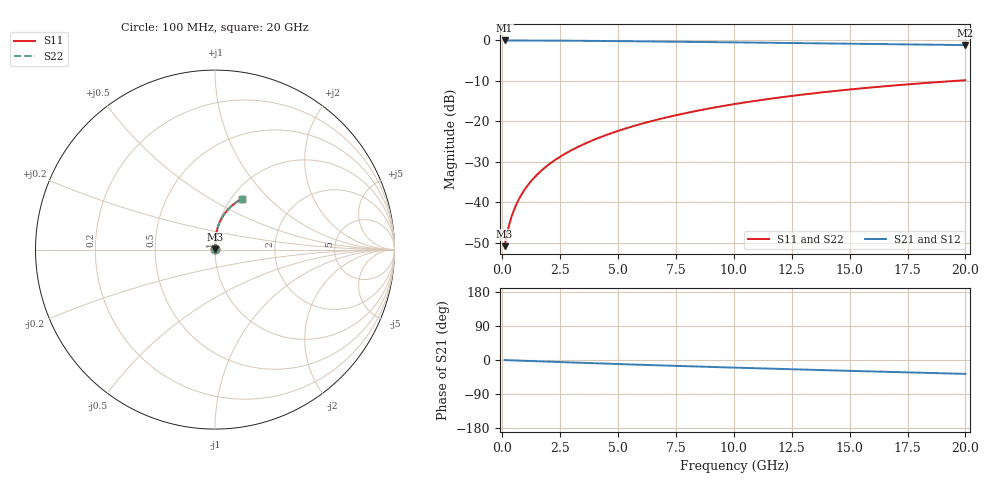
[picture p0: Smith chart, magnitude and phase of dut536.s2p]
! Touchstone file exported from HFSS 2024.1.0
!  File:  C:/UserFiles/LocalFiles/RDL_TSV_Batchsim/temp_RDL_bottom_536_1779688730.aedt
!  Generated:  02:01:24 PM May 25, 2026
!  Design:  RDL_bottom
!  Project:  temp_RDL_bottom_536_1779688730
!  Setup:  Setup1
!  Solution:  Sweep
! Variables:
!  dtsv = 10.80580581um
!  hbump = 3um
!  htsv = 97.45um
!  ldown = 515.27um
!  lrdl = 100um
!  p = 40
!  p1 = 51.37um
!  rhole = 1um
!  t = 450um
!  tdown = 3.48um
!  trdl = 3.915915916um
!  wdown = 24.82um
!  wrdl = 20um
# GHz S MA R 50.000000
! Terminal data exported
! Port[1] = RDL1_T1
! Port[2] = RDL1_T2
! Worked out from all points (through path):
!   200 points, 100 MHz to 20 GHz, reference 50 ohm
!   highest |S21| = -0.02 dB at 100 MHz (marker M1); lowest = -1.2 dB at 20 GHz (marker M2)
!   group delay of S21, straight-line fit = 5.04 ps
!   lowest |S11| = -50.9 dB at 100 MHz (marker M3), VSWR 1.01, Z = 50.2 + j0.163 ohm
!   |S11| at or under -10 dB: start of sweep to 19.62 GHz
!   |S22| runs from -50.9 to -9.9 dB; largest |S21 - S12| = 2.7e-15
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0.1  0.00285 34.6  0.9976 -0.2  0.9976 -0.2  0.00285 34.6
! Gamma 0 0 0 0
! Port Impedance 50 0 50 0
0.2  0.004011 51.9  0.9975 -0.5  0.9975 -0.5  0.004011 51.9
0.3  0.005299 60.5  0.9973 -0.7  0.9973 -0.7  0.005299 60.5
0.4  0.006609 65.8  0.9971 -0.9  0.9971 -0.9  0.006609 65.8
0.5  0.007932 69.5  0.997 -1.1  0.997 -1.1  0.007932 69.5
0.6  0.009268 72.3  0.9968 -1.3  0.9968 -1.3  0.009268 72.3
0.8  0.01198 76.1  0.9965 -1.8  0.9965 -1.8  0.01198 76.1
1.1  0.01614 79.6  0.996 -2.4  0.996 -2.4  0.01614 79.6
1.3  0.01896 81.2  0.9956 -2.9  0.9956 -2.9  0.01896 81.2
1.6  0.02324 82.8  0.9949 -3.5  0.9949 -3.5  0.02324 82.8
2.1  0.03051 84.5  0.9934 -4.6  0.9934 -4.6  0.03051 84.5
2.7  0.03946 85.6  0.9911 -5.9  0.9911 -5.9  0.03946 85.6
3.5  0.05175 86.2  0.9875 -7.6  0.9875 -7.6  0.05175 86.2
4.2  0.06286 86.3  0.9838 -9.0  0.9838 -9.0  0.06286 86.3
5  0.07592 86.0  0.9791 -10.7  0.9791 -10.7  0.07593 86.0
6.8  0.1065 84.4  0.9675 -14.2  0.9675 -14.2  0.1065 84.4
8.4  0.1344 82.1  0.9564 -17.2  0.9564 -17.2  0.1344 82.2
10.1  0.1643 79.4  0.9444 -20.3  0.9444 -20.3  0.1643 79.4
11.7  0.192 76.6  0.9331 -23.1  0.9331 -23.1  0.192 76.6
13.4  0.2208 73.5  0.9211 -26.0  0.9211 -26.0  0.2208 73.6
16.7  0.2735 67.7  0.8978 -31.4  0.8978 -31.4  0.2736 67.7
20  0.3216 62.0  0.8746 -36.6  0.8746 -36.6  0.3216 62.0
